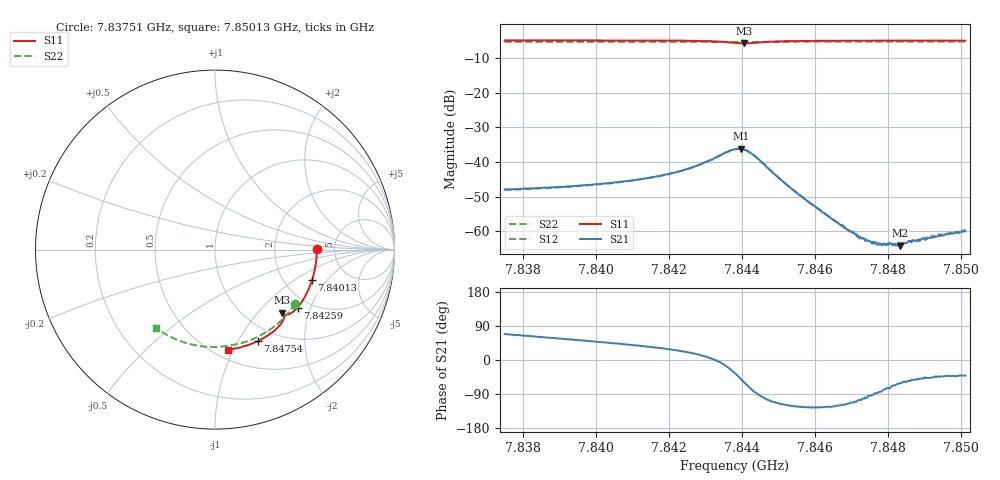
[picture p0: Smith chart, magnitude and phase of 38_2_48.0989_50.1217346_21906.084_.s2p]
#  HZ  S  RI  R  50.00
! Rohde & Schwarz Vector Network Analyzer
! Rohde-Schwarz,ZNB20-2Port,1311601062101988,3.16
! Created: UTC 12/23/2023, 3:38:26 AM
! freq[Hz]  re:S11  im:S11  re:S21  im:S21  re:S12  im:S12  re:S22  im:S22
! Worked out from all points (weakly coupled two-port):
!   401 points, 7.83751 GHz to 7.85013 GHz, reference 50 ohm
!   highest |S21| = -36.19 dB at 7.84397 GHz (marker M1); lowest = -64.2 dB at 7.84833 GHz (marker M2)
!   lowest |S11| = -5.8 dB at 7.84407 GHz (marker M3), VSWR 3.11, Z = 71.7 - j68.3 ohm
!   |S11| at or under -10 dB: nowhere
!   |S22| runs from -5.4 to -5.2 dB; largest |S21 - S12| = 0.0003
!   S11 on the Smith chart (normalised r, x): 7.83751 GHz: 3.61, +0.01; 7.84013 GHz: 2.82, -1.42; 7.84259 GHz: 1.73, -1.63; 7.84754 GHz: 0.81, -1.21; 7.85013 GHz: 0.58, -0.95
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7.837507e9  0.5666 0.00104  0.00147 0.00375  0.00149 0.00367  0.4483 -0.3007
7.839621e9  0.5499 -0.1386  0.00286 0.00359  0.00281 0.00357  0.3507 -0.4114
7.840126e9  0.5406 -0.1712  0.00328 0.00355  0.00323 0.00352  0.3231 -0.4337
7.841009e9  0.5189 -0.2274  0.00418 0.00345  0.00416 0.00343  0.2714 -0.4683
7.841735e9  0.4957 -0.2722  0.00534 0.00328  0.00528 0.00331  0.2263 -0.4917
7.842587e9  0.4599 -0.3229  0.0077 0.0027  0.00764 0.00275  0.1707 -0.5138
7.843344e9  0.4124 -0.3602  0.012 -0.000661  0.0119 -0.000554  0.119 -0.5274
7.843817e9  0.3776 -0.3595  0.0126 -0.00874  0.0126 -0.00863  0.0873 -0.5321
7.843975e9  0.3738 -0.3533  0.01 -0.0118  0.01 -0.0117  0.0773 -0.5334
7.844069e9  0.375 -0.3506  0.00782 -0.0129  0.00795 -0.0128  0.0715 -0.5343
7.844353e9  0.3843 -0.3557  0.0012 -0.0122  0.0013 -0.0122  0.0533 -0.5376
7.845205e9  0.368 -0.4132  -0.00232 -0.00422  -0.00231 -0.00429  -0.00635 -0.5429
7.845931e9  0.3315 -0.4511  -0.0014 -0.00197  -0.0014 -0.002  -0.0575 -0.5406
7.84694e9  0.2739 -0.4911  -0.00043 -0.000929  -0.000399 -0.000919  -0.1276 -0.5294
7.847224e9  0.2569 -0.5005  -0.000212 -0.00076  -0.000235 -0.000792  -0.1471 -0.5243
7.84754e9  0.2378 -0.5102  -5.15e-05 -0.000704  -7.79e-05 -0.000729  -0.1683 -0.518
7.847824e9  0.2203 -0.5181  7.29e-05 -0.000651  8.51e-05 -0.000635  -0.1871 -0.5118
7.848045e9  0.2066 -0.5239  0.000173 -0.000656  0.000185 -0.000622  -0.2017 -0.5063
7.848265e9  0.1926 -0.529  0.000287 -0.000558  0.000292 -0.000623  -0.2161 -0.5006
7.848329e9  0.1888 -0.5305  0.000302 -0.000539  0.000318 -0.000578  -0.2202 -0.4989
7.849685e9  0.1013 -0.5536  0.000683 -0.000633  0.00068 -0.000655  -0.3038 -0.4536
7.850127e9  0.0721 -0.5579  0.000751 -0.000661  0.00077 -0.000673  -0.3293 -0.4361
